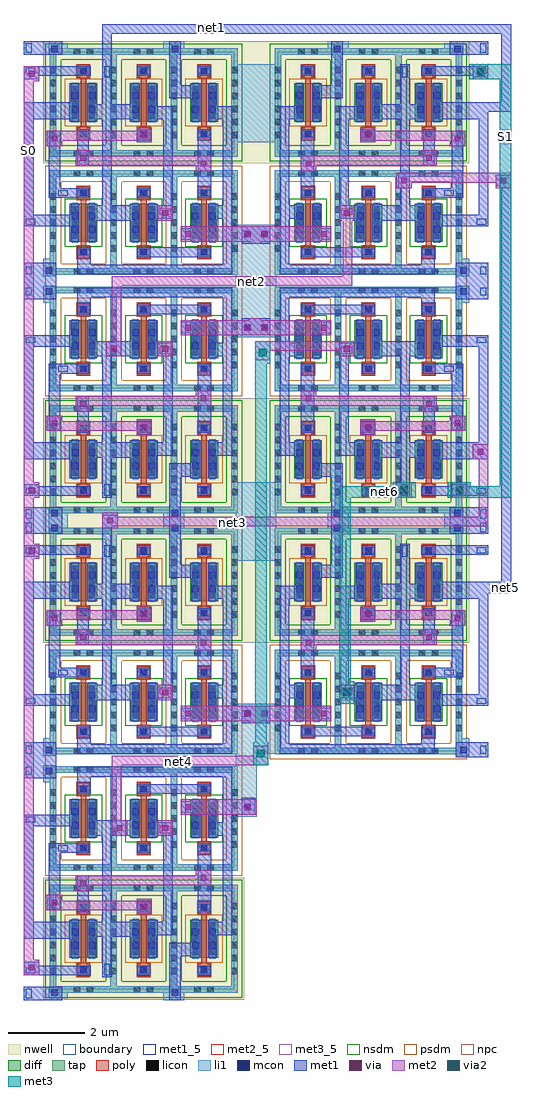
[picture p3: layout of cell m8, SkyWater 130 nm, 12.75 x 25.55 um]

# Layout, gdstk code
from math import pi, radians
import gdstk
lib = gdstk.Library(unit=1e-6, precision=1e-09)
def R(c, l, rs):  # rectangles x0, y0, x1, y1
    for r in rs: c.add(gdstk.rectangle(r[:2], r[2:], *l))
def A(c, l, x, y, w, h, nx, ny, dx, dy):  # array of equal rectangles
    R(c, l, [(x+i*dx, y+j*dy, x+i*dx+w, y+j*dy+h) for i in range(nx) for j in range(ny)])
nwell = (64, 20)
diff = (65, 20)
tap = (65, 44)
poly = (66, 20)
licon = (66, 44)
li1 = (67, 20)
mcon = (67, 44)
met1_5 = (68, 5)
met1 = (68, 20)
via = (68, 44)
met2_5 = (69, 5)
met2 = (69, 20)
via2 = (69, 44)
met3_5 = (70, 5)
met3 = (70, 20)
nsdm = (93, 44)
psdm = (94, 20)
npc = (95, 20)
boundary = (235, 4)

sky130_fd_pr__pfet_01v8_ = lib.new_cell('sky130_fd_pr__pfet_01v8_YJL4GZ')
R(sky130_fd_pr__pfet_01v8_, nwell, [(-1.055,-1.595,1.055,1.595)])
R(sky130_fd_pr__pfet_01v8_, diff, [(-0.365,-0.5,0.365,0.5)])
R(sky130_fd_pr__pfet_01v8_, tap, [(-0.875,-1.415,0.875,-1.245), (-0.875,-1.245,-0.705,1.245), (0.705,-1.245,0.875,1.245), (-0.875,1.245,0.875,1.415)])
R(sky130_fd_pr__pfet_01v8_, poly, [(-0.165,-0.985,0.165,-0.655), (-0.075,-0.655,0.075,0.655), (-0.165,0.655,0.165,0.985)])
A(sky130_fd_pr__pfet_01v8_, licon, -0.875, -0.935, 0.17, 0.17, 1, 6, 0, 0.34)
A(sky130_fd_pr__pfet_01v8_, licon, 0.705, -0.935, 0.17, 0.17, 1, 6, 0, 0.34)
A(sky130_fd_pr__pfet_01v8_, licon, -0.305, -0.425, 0.17, 0.17, 1, 3, 0, 0.34)
A(sky130_fd_pr__pfet_01v8_, licon, 0.135, -0.425, 0.17, 0.17, 1, 3, 0, 0.34)
R(sky130_fd_pr__pfet_01v8_, licon, [(-0.255,-1.415,-0.085,-1.245), (0.085,-1.415,0.255,-1.245), (-0.085,-0.905,0.085,-0.735), (-0.085,0.735,0.085,0.905), (-0.255,1.245,-0.085,1.415), (0.085,1.245,0.255,1.415)])
R(sky130_fd_pr__pfet_01v8_, li1, [(-0.875,-1.415,0.875,-1.245), (-0.875,-1.245,-0.705,1.245), (0.705,-1.245,0.875,1.245), (-0.165,-0.905,0.165,-0.735), (-0.305,-0.52,-0.135,0.52), (0.135,-0.52,0.305,0.52), (-0.165,0.735,0.165,0.905), (-0.875,1.245,0.875,1.415)])
R(sky130_fd_pr__pfet_01v8_, mcon, [(-0.085,-0.905,0.085,-0.735), (-0.305,-0.265,-0.135,-0.095), (0.135,-0.265,0.305,-0.095), (-0.305,0.095,-0.135,0.265), (0.135,0.095,0.305,0.265), (-0.085,0.735,0.085,0.905)])
R(sky130_fd_pr__pfet_01v8_, met1, [(-0.145,-0.935,0.145,-0.705), (-0.335,-0.5,-0.105,0.5), (0.105,-0.5,0.335,0.5), (-0.145,0.705,0.145,0.935)])
R(sky130_fd_pr__pfet_01v8_, nsdm, [(-1,-1.54,1,-1.12), (-1,-1.12,-0.58,1.12), (0.58,-1.12,1,1.12), (-1,1.12,1,1.54)])
R(sky130_fd_pr__pfet_01v8_, psdm, [(-0.49,-0.625,0.49,0.625)])
R(sky130_fd_pr__pfet_01v8_, npc, [(-0.185,-1.005,0.185,-0.635), (-0.185,0.635,0.185,1.005)])
R(sky130_fd_pr__pfet_01v8_, boundary, [(-0.79,-1.33,0.79,1.33)])
sky130_fd_pr__pfet_01v8_.add(gdstk.Label('B', (0,-1.33), layer=67, texttype=5))
sky130_fd_pr__pfet_01v8_.add(gdstk.Label('D', (-0.22,0), layer=67, texttype=5))
sky130_fd_pr__pfet_01v8_.add(gdstk.Label('S', (0.22,0), layer=67, texttype=5))
sky130_fd_pr__pfet_01v8_.add(gdstk.Label('G', (0,0.82), layer=67, texttype=5))

sky130_fd_pr__nfet_01v8_ = lib.new_cell('sky130_fd_pr__nfet_01v8_LB55D5')
R(sky130_fd_pr__nfet_01v8_, diff, [(-0.365,-0.5,0.365,0.5)])
R(sky130_fd_pr__nfet_01v8_, tap, [(-0.875,-1.37,0.875,-1.2), (-0.875,-1.2,-0.705,1.2), (0.705,-1.2,0.875,1.2), (-0.875,1.2,0.875,1.37)])
R(sky130_fd_pr__nfet_01v8_, poly, [(-0.165,-0.94,0.165,-0.61), (-0.075,-0.61,0.075,0.61), (-0.165,0.61,0.165,0.94)])
A(sky130_fd_pr__nfet_01v8_, licon, -0.875, -0.765, 0.17, 0.17, 1, 5, 0, 0.34)
A(sky130_fd_pr__nfet_01v8_, licon, 0.705, -0.765, 0.17, 0.17, 1, 5, 0, 0.34)
A(sky130_fd_pr__nfet_01v8_, licon, -0.305, -0.425, 0.17, 0.17, 1, 3, 0, 0.34)
A(sky130_fd_pr__nfet_01v8_, licon, 0.135, -0.425, 0.17, 0.17, 1, 3, 0, 0.34)
R(sky130_fd_pr__nfet_01v8_, licon, [(-0.255,-1.37,-0.085,-1.2), (0.085,-1.37,0.255,-1.2), (-0.085,-0.86,0.085,-0.69), (-0.085,0.69,0.085,0.86), (-0.255,1.2,-0.085,1.37), (0.085,1.2,0.255,1.37)])
R(sky130_fd_pr__nfet_01v8_, li1, [(-0.875,-1.37,0.875,-1.2), (-0.875,-1.2,-0.705,1.2), (0.705,-1.2,0.875,1.2), (-0.165,-0.86,0.165,-0.69), (-0.305,-0.52,-0.135,0.52), (0.135,-0.52,0.305,0.52), (-0.165,0.69,0.165,0.86), (-0.875,1.2,0.875,1.37)])
R(sky130_fd_pr__nfet_01v8_, mcon, [(-0.085,-0.86,0.085,-0.69), (-0.305,-0.265,-0.135,-0.095), (0.135,-0.265,0.305,-0.095), (-0.305,0.095,-0.135,0.265), (0.135,0.095,0.305,0.265), (-0.085,0.69,0.085,0.86)])
R(sky130_fd_pr__nfet_01v8_, met1, [(-0.145,-0.89,0.145,-0.66), (-0.335,-0.5,-0.105,0.5), (0.105,-0.5,0.335,0.5), (-0.145,0.66,0.145,0.89)])
R(sky130_fd_pr__nfet_01v8_, nsdm, [(-0.49,-0.625,0.49,0.625)])
R(sky130_fd_pr__nfet_01v8_, psdm, [(-1,-1.495,1,-1.075), (-1,-1.075,-0.58,1.075), (0.58,-1.075,1,1.075), (-1,1.075,1,1.495)])
R(sky130_fd_pr__nfet_01v8_, npc, [(-0.185,-0.96,0.185,-0.59), (-0.185,0.59,0.185,0.96)])
R(sky130_fd_pr__nfet_01v8_, boundary, [(-0.79,-1.285,0.79,1.285)])
sky130_fd_pr__nfet_01v8_.add(gdstk.Label('B', (0,-1.285), layer=67, texttype=5))
sky130_fd_pr__nfet_01v8_.add(gdstk.Label('D', (-0.22,0), layer=67, texttype=5))
sky130_fd_pr__nfet_01v8_.add(gdstk.Label('S', (0.22,0), layer=67, texttype=5))
sky130_fd_pr__nfet_01v8_.add(gdstk.Label('G', (0,0.775), layer=67, texttype=5))

mux1 = lib.new_cell('mux1')
R(mux1, li1, [(0.5,-3.9,0.85,-3.45), (5.55,-3.15,6,-2.55), (0.65,1.9,1.15,2.2), (3.65,1.95,4.2,2.25)])
R(mux1, mcon, [(0.565,-3.835,0.735,-3.665), (5.765,-2.885,5.935,-2.715), (0.715,1.965,0.885,2.135), (3.865,1.965,4.035,2.135)])
R(mux1, met1_5, [(0.05,-3.85,0.2,-3.65), (0.05,-2.55,0.3,-2.4), (0.9,-1.8,1.15,-1.65), (2.1,1.3,2.25,1.6), (0.05,1.4,0.3,1.55), (0.05,1.95,0.2,2.2)])
R(mux1, met1, [(0,-3.95,0.85,-3.55), (1.4,-3.85,5.45,-3.6), (1.4,-3.6,1.75,-3.15), (5.2,-3.6,5.45,-2.4), (2.95,-3.4,4.9,-3.15), (5.7,-3.05,6.05,-2.6), (4.1,-2.95,4.5,-2.65), (0,-2.6,1.3,-2.3), (1.8,-2.45,2.85,-2.05), (3.4,-2.4,3.9,-2.05), (5,-2.4,5.45,-2.05), (0,-2.3,0.25,0.2), (2.05,-2.05,2.3,0.2), (3.65,-2.05,3.9,0.2), (5.2,-2.05,5.45,0.2), (0.65,-1.85,1.7,-1.6), (2.95,-1.85,3.3,-1.6), (4.55,-1.85,4.9,-0.05), (0.65,-1.6,0.95,-0.1), (1.4,-1,1.7,-0.05), (2.95,-0.35,3.35,-0.05), (0,0.2,1.25,0.65), (1.8,0.2,2.9,0.6), (3.4,0.2,3.9,0.55), (5,0.2,5.45,0.55), (2.05,0.6,2.3,1.65), (3.8,0.75,4.45,1.1), (3.8,1.1,4.1,2.25), (0,1.35,1.75,1.6), (2.95,1.35,3.3,1.6), (4.55,1.35,4.9,1.6), (0,1.9,1,2.25)])
R(mux1, via, [(4.225,-2.875,4.375,-2.725), (5.775,-2.875,5.925,-2.725), (3.625,-2.325,3.775,-2.175), (4.625,-1.025,4.775,-0.875), (1.475,-0.875,1.625,-0.725), (0.725,-0.375,0.875,-0.225), (3.075,-0.275,3.225,-0.125)])
R(mux1, met2_5, [(3.56,-2.3,3.84,-2.12)])
R(mux1, met2, [(4.1,-3,6.1,-2.6), (3.5,-2.45,3.9,-2.05), (4.5,-1.15,4.9,-1), (1.35,-1,4.9,-0.75), (1.35,-0.75,1.75,-0.6), (0.6,-0.5,1,-0.35), (2.95,-0.4,3.35,-0.35), (0.6,-0.35,3.35,-0.1), (2.95,-0.1,3.35,0)])
mux1.add(gdstk.Reference(sky130_fd_pr__pfet_01v8_, (4.715,0.645), rotation=pi))
mux1.add(gdstk.Reference(sky130_fd_pr__nfet_01v8_, (4.715,-2.5), rotation=pi))
mux1.add(gdstk.Reference(sky130_fd_pr__pfet_01v8_, (3.135,0.645), rotation=pi))
mux1.add(gdstk.Reference(sky130_fd_pr__pfet_01v8_, (1.555,0.645)))
mux1.add(gdstk.Reference(sky130_fd_pr__nfet_01v8_, (3.135,-2.5)))
mux1.add(gdstk.Reference(sky130_fd_pr__nfet_01v8_, (1.555,-2.5)))
mux1.add(gdstk.Label('I0', (0.175,-2.475), layer=68, texttype=5))
mux1.add(gdstk.Label('VSS', (0.125,-3.75), layer=68, texttype=5))
mux1.add(gdstk.Label('VDD', (0.125,2.075), layer=68, texttype=5))
mux1.add(gdstk.Label('S', (0.175,1.475), layer=68, texttype=5))
mux1.add(gdstk.Label('net1', (1.025,-1.725), layer=68, texttype=5))
mux1.add(gdstk.Label('I1', (3.7,-2.21), layer=69, texttype=5))
mux1.add(gdstk.Label('out', (2.175,1.45), layer=68, texttype=5))

c_m8 = lib.new_cell('m8')
R(c_m8, nwell, [(6.35,-2.4,7.1,0.75), (1.15,0.75,12.3,0.85), (6.35,0.85,7.1,4), (6.35,10.15,7.1,13.3), (1.15,13.3,12.3,13.35)])
R(c_m8, li1, [(6.2,-6.95,6.75,-5.3), (6.2,-5.3,7.3,-4.55), (6.2,-4.55,6.85,-4.5), (6.6,-4.5,6.85,-4), (6.2,-0.25,7.25,1.8), (1.3,0.7,1.8,0.9), (11.65,0.7,12.15,0.9), (6.55,5.6,6.85,6), (6.2,6,7.25,8.05), (6.6,8.05,6.85,8.55), (6.2,10.7,7.25,12.75)])
R(c_m8, met1_5, [(13.15,-1,13.35,-0.9), (5.45,13.65,5.65,13.75)])
R(c_m8, met1, [(0.7,-11.05,1,-10.85), (0.65,-10.85,1.05,-10.75), (3,-7.4,3.3,-7.1), (0.65,-5.6,1.5,-5.35), (6.6,-4.5,6.85,-4.05), (12.75,-1.1,13.4,-0.8), (13.15,-0.8,13.4,9.55), (0.65,-0.15,1.05,-0.05), (0.7,-0.05,1,0.15), (2.7,0.15,2.95,0.65), (2.7,0.65,3.1,0.95), (10.4,1.4,10.55,1.45), (0.7,1.45,1,1.65), (10.4,1.45,10.75,1.75), (11.9,1.45,12.2,1.65), (0.65,1.65,1.05,1.75), (11.85,1.65,12.25,1.75), (10.4,1.75,10.55,1.8), (12.45,2.45,12.75,2.75), (2.85,5.15,3.15,5.45), (6.55,5.65,6.85,6.1), (11.95,6.9,12.8,7.25), (0.65,6.95,1.5,7.2), (6.6,8.05,6.85,8.5), (10.45,9.5,10.55,9.55), (10.45,9.55,10.75,9.85), (13,9.55,13.4,9.85), (10.45,9.85,10.55,9.9), (12.75,11.5,13.4,11.75), (13.15,11.75,13.4,13.55), (0.65,12.35,1.05,12.5), (12.4,12.4,12.8,12.5), (0.7,12.5,1,12.65), (12.45,12.5,12.75,12.7), (11.05,12.6,11.45,12.7), (2.7,12.65,2.95,13.55), (2.7,13.55,13.4,13.8)])
R(c_m8, via, [(0.775,-10.975,0.925,-10.825), (3.075,-7.325,3.225,-7.175), (0.775,-0.075,0.925,0.075), (2.825,0.725,2.975,0.875), (0.775,1.525,0.925,1.675), (10.525,1.525,10.675,1.675), (11.975,1.525,12.125,1.675), (12.525,2.525,12.675,2.675), (2.925,5.225,3.075,5.375), (10.525,9.625,10.675,9.775), (13.125,9.625,13.275,9.775), (0.775,12.425,0.925,12.575), (12.525,12.475,12.675,12.625)])
R(c_m8, met2_5, [(4.6,-5.55,4.8,-5.45), (6,0.7,6.2,0.8), (6.5,7,6.7,7.1), (0.7,10.35,0.85,10.65)])
R(c_m8, met2, [(0.65,-11.1,1.05,-10.7), (0.65,-10.7,0.9,-0.2), (2.95,-7.45,3.35,-7.05), (2.95,-7.05,3.2,-5.6), (2.95,-5.6,7.05,-5.35), (6.65,-5.35,7.05,-5.1), (6.6,-4.5,6.85,-4.05), (8.95,-3.85,9.25,-3.55), (0.65,-0.2,1.05,0.2), (0.65,0.2,0.9,1.4), (2.7,0.6,3.1,0.65), (2.7,0.65,12.8,0.9), (2.7,0.9,3.1,1), (12.55,0.9,12.8,2.4), (0.65,1.4,1.05,1.8), (10.4,1.4,10.8,1.8), (11.85,1.4,12.25,1.8), (0.65,1.8,0.9,12.3), (12.4,2.4,12.8,2.8), (6.7,5,7.1,5.25), (2.8,5.1,3.2,5.5), (6.7,5.25,8.95,5.5), (2.95,5.5,3.2,6.95), (6.55,5.65,6.85,6.1), (2.95,6.95,9.25,7.2), (9,7.2,9.25,8.75), (6.6,8.05,6.85,8.5), (10.4,9.5,10.8,9.65), (13,9.5,13.4,9.65), (10.4,9.65,13.4,9.9), (0.65,12.3,1.05,12.7), (12.4,12.35,12.8,12.75)])
R(c_m8, via2, [(6.75,-5.4,6.95,-5.2), (9,-3.8,9.2,-3.6), (10.5,1.5,10.7,1.7), (11.95,1.5,12.15,1.7), (6.8,5.1,7,5.3), (12.5,12.45,12.7,12.65)])
R(c_m8, met3_5, [(10,1.5,10.2,1.6), (13.15,10.65,13.35,11.05)])
R(c_m8, met3, [(6.65,-5.6,7.05,-5), (6.7,-5,7,4.9), (8.9,-4,9.3,-3.4), (8.9,-3.4,9.2,1.4), (8.9,1.4,10.9,1.7), (11.75,1.4,13.4,1.7), (10.3,1.7,10.9,1.8), (11.75,1.7,12.35,1.8), (13.1,1.7,13.4,12.35), (6.7,4.9,7.1,5.5), (12.3,12.35,13.4,12.75)])
R(c_m8, nsdm, [(1.205,0.735,6.365,0.865), (7.085,0.735,12.245,0.865)])
R(c_m8, psdm, [(1.205,-5.505,6.365,-5.445), (1.205,7.045,6.365,7.105), (7.085,7.045,12.245,7.105)])
c_m8.add(gdstk.Reference(mux1, (12.8,-1.45), rotation=pi, x_reflection=True))
c_m8.add(gdstk.Reference(mux1, (12.8,3.05), rotation=pi))
c_m8.add(gdstk.Reference(mux1, (12.8,11.1), rotation=pi, x_reflection=True))
c_m8.add(gdstk.Reference(mux1, (0.65,-9.5), x_reflection=True))
c_m8.add(gdstk.Reference(mux1, (0.65,-1.45)))
c_m8.add(gdstk.Reference(mux1, (0.65,3.05), x_reflection=True))
c_m8.add(gdstk.Reference(mux1, (0.65,11.1)))
c_m8.add(gdstk.Label('S0', (0.775,10.5), layer=69, texttype=5))
c_m8.add(gdstk.Label('S1', (13.25,10.85), layer=70, texttype=5))
c_m8.add(gdstk.Label('net1', (5.55,13.7), layer=68, texttype=5))
c_m8.add(gdstk.Label('net2', (6.6,7.05), layer=69, texttype=5))
c_m8.add(gdstk.Label('net3', (6.1,0.75), layer=69, texttype=5))
c_m8.add(gdstk.Label('net4', (4.7,-5.5), layer=69, texttype=5))
c_m8.add(gdstk.Label('net5', (13.25,-0.95), layer=68, texttype=5))
c_m8.add(gdstk.Label('net6', (10.1,1.55), layer=70, texttype=5))

lib.write_gds('m8.gds')
